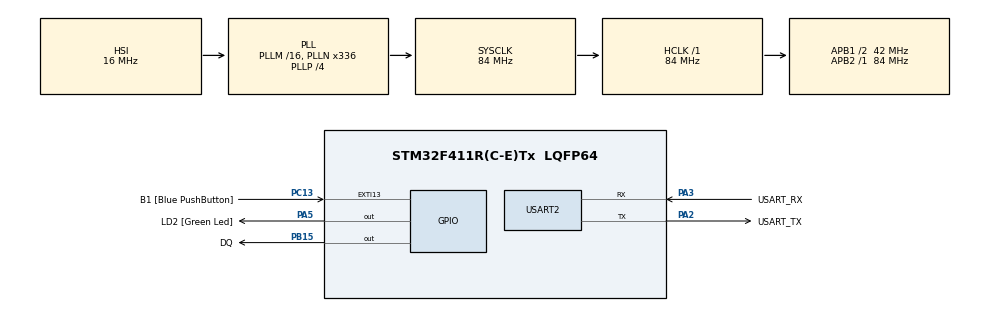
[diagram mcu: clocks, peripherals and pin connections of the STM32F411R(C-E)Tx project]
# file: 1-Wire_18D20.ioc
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Mcu.Family=STM32F4
Mcu.Name=STM32F411R(C-E)Tx
Mcu.Package=LQFP64
NVIC.PriorityGroup=NVIC_PRIORITYGROUP_0
NVIC.USART2_IRQn=true\:0\:0\:false\:false\:true\:true\:true
PA13.GPIO_Label=TMS
PA13.Mode=Serial_Wire
PA13.Signal=SYS_JTMS-SWDIO
PA14.GPIO_Label=TCK
PA14.Mode=Serial_Wire
PA14.Signal=SYS_JTCK-SWCLK
PA2.GPIO_Label=USART_TX
PA2.Mode=Asynchronous
PA2.Signal=USART2_TX
PA3.GPIO_Label=USART_RX
PA3.Mode=Asynchronous
PA3.Signal=USART2_RX
PA5.GPIO_Label=LD2 [Green Led]
PA5.Signal=GPIO_Output
PB15.GPIO_Label=DQ
PB15.GPIO_ModeDefaultOutputPP=GPIO_MODE_OUTPUT_OD
PB15.Signal=GPIO_Output
PB3.GPIO_Label=SWO
PB3.Signal=SYS_JTDO-SWO
PC13-ANTI_TAMP.GPIO_Label=B1 [Blue PushButton]
PC13-ANTI_TAMP.GPIO_ModeDefaultEXTI=GPIO_MODE_IT_FALLING
PC13-ANTI_TAMP.Signal=GPXTI13
PC14-OSC32_IN.Mode=LSE-External-Oscillator
PC14-OSC32_IN.Signal=RCC_OSC32_IN
PC15-OSC32_OUT.Mode=LSE-External-Oscillator
PC15-OSC32_OUT.Signal=RCC_OSC32_OUT
PH0\ -\ OSC_IN.Mode=HSE-External-Clock-Source
PH0\ -\ OSC_IN.Signal=RCC_OSC_IN
PH1\ -\ OSC_OUT.Mode=HSE-External-Clock-Source
PH1\ -\ OSC_OUT.Signal=RCC_OSC_OUT
ProjectManager.HeapSize=0x200
ProjectManager.StackSize=0x400
ProjectManager.TargetToolchain=STM32CubeIDE
RCC.48MHZClocksFreq_Value=84000000
RCC.AHBFreq_Value=84000000
RCC.APB1CLKDivider=RCC_HCLK_DIV2
RCC.APB1Freq_Value=42000000
RCC.APB1TimFreq_Value=84000000
RCC.APB2Freq_Value=84000000
RCC.APB2TimFreq_Value=84000000
RCC.CortexFreq_Value=84000000
RCC.FLatency-AdvancedSettings=FLASH_LATENCY_2
RCC.HCLKFreq_Value=84000000
RCC.HSE_VALUE=8000000
RCC.HSI_VALUE=16000000
RCC.PLLN=336
RCC.PLLP=RCC_PLLP_DIV4
RCC.SYSCLKFreq_VALUE=84000000
RCC.SYSCLKSource=RCC_SYSCLKSOURCE_PLLCLK
RCC.VCOOutputFreq_Value=336000000
TIM1.AutoReloadPreload=TIM_AUTORELOAD_PRELOAD_DISABLE
TIM1.Prescaler=83 - 1
USART2.VirtualMode=VM_ASYNC
VP_TIM1_VS_ClockSourceINT.Mode=Internal
board=NUCLEO-F411RE

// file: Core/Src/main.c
/* USER CODE BEGIN Header */
/**
  ******************************************************************************
  * @file           : main.c
  * @brief          : Main program body
  ******************************************************************************
  * @attention
  *
  * <h2><center>&copy; Copyright (c) 2021 STMicroelectronics.
  * All rights reserved.</center></h2>
  *
  * This software component is licensed by ST under BSD 3-Clause license,
  * the "License"; You may not use this file except in compliance with the
  * License. You may obtain a copy of the License at:
  *                        opensource.org/licenses/BSD-3-Clause
  *
  ******************************************************************************
  */
/* USER CODE END Header */
#include "main.h"

/* USER CODE BEGIN Includes */
#include "18B20_drivers.h"
#include <stdio.h>
/* USER CODE END Includes */

TIM_HandleTypeDef htim1;

UART_HandleTypeDef huart2;

void SystemClock_Config(void);
static void MX_GPIO_Init(void);
static void MX_USART2_UART_Init(void);
static void MX_TIM1_Init(void);

int main(void)
{
  /* USER CODE BEGIN 1 */
	uint8_t  uart_buf[50];
	uint16_t  uart_buf_len;
	float temp;
	uint64_t code;
  /* USER CODE END 1 */

  /* MCU Configuration--------------------------------------------------------*/

  /* Reset of all peripherals, Initializes the Flash interface and the Systick. */
  HAL_Init();

  /* Configure the system clock */
  SystemClock_Config();

  /* Initialize all configured peripherals */
  MX_GPIO_Init();
  MX_USART2_UART_Init();
  MX_TIM1_Init();
  /* USER CODE BEGIN 2 */
  HAL_TIM_Base_Start(&htim1);
  uart_buf_len = sprintf((char*) uart_buf,"Device number: ");
  HAL_UART_Transmit_IT(&huart2,  uart_buf, uart_buf_len);
  code = read_rom();
  uart_buf_len = sprintf((char*) uart_buf,"%X%X%X%X%X%X%X%X\r\n",
		  code >> 56,code >> 48, code >> 40,code >> 32,
		  code >> 24,code >> 16, code >> 8,code >> 0);
  HAL_UART_Transmit_IT(&huart2,  uart_buf, uart_buf_len);
  /* USER CODE END 2 */

  /* Infinite loop */
  while (1)
  {

    /* USER CODE BEGIN 3 */
	temp = read_temp();
	uart_buf_len = sprintf((char*) uart_buf,"Temperature: %0.2f \r\n", temp); // @suppress("Float formatting support")
	HAL_UART_Transmit_IT(&huart2,  uart_buf, uart_buf_len);

  }
  /* USER CODE END 3 */
}

void SystemClock_Config(void)
{
  RCC_OscInitTypeDef RCC_OscInitStruct = {0};
  RCC_ClkInitTypeDef RCC_ClkInitStruct = {0};

  /** Configure the main internal regulator output voltage
  */
  __HAL_RCC_PWR_CLK_ENABLE();
  __HAL_PWR_VOLTAGESCALING_CONFIG(PWR_REGULATOR_VOLTAGE_SCALE1);
  /** Initializes the RCC Oscillators according to the specified parameters
  * in the RCC_OscInitTypeDef structure.
  */
  RCC_OscInitStruct.OscillatorType = RCC_OSCILLATORTYPE_HSI;
  RCC_OscInitStruct.HSIState = RCC_HSI_ON;
  RCC_OscInitStruct.HSICalibrationValue = RCC_HSICALIBRATION_DEFAULT;
  RCC_OscInitStruct.PLL.PLLState = RCC_PLL_ON;
  RCC_OscInitStruct.PLL.PLLSource = RCC_PLLSOURCE_HSI;
  RCC_OscInitStruct.PLL.PLLM = 16;
  RCC_OscInitStruct.PLL.PLLN = 336;
  RCC_OscInitStruct.PLL.PLLP = RCC_PLLP_DIV4;
  RCC_OscInitStruct.PLL.PLLQ = 4;
  if (HAL_RCC_OscConfig(&RCC_OscInitStruct) != HAL_OK)
  {
    Error_Handler();
  }
  /** Initializes the CPU, AHB and APB buses clocks
  */
  RCC_ClkInitStruct.ClockType = RCC_CLOCKTYPE_HCLK|RCC_CLOCKTYPE_SYSCLK
                              |RCC_CLOCKTYPE_PCLK1|RCC_CLOCKTYPE_PCLK2;
  RCC_ClkInitStruct.SYSCLKSource = RCC_SYSCLKSOURCE_PLLCLK;
  RCC_ClkInitStruct.AHBCLKDivider = RCC_SYSCLK_DIV1;
  RCC_ClkInitStruct.APB1CLKDivider = RCC_HCLK_DIV2;
  RCC_ClkInitStruct.APB2CLKDivider = RCC_HCLK_DIV1;

  if (HAL_RCC_ClockConfig(&RCC_ClkInitStruct, FLASH_LATENCY_2) != HAL_OK)
  {
    Error_Handler();
  }
}

static void MX_TIM1_Init(void)
{

  TIM_ClockConfigTypeDef sClockSourceConfig = {0};
  TIM_MasterConfigTypeDef sMasterConfig = {0};

  htim1.Instance = TIM1;
  htim1.Init.Prescaler = 83 - 1;
  htim1.Init.CounterMode = TIM_COUNTERMODE_UP;
  htim1.Init.Period = 65535;
  htim1.Init.ClockDivision = TIM_CLOCKDIVISION_DIV1;
  htim1.Init.RepetitionCounter = 0;
  htim1.Init.AutoReloadPreload = TIM_AUTORELOAD_PRELOAD_DISABLE;
  if (HAL_TIM_Base_Init(&htim1) != HAL_OK)
  {
    Error_Handler();
  }
  sClockSourceConfig.ClockSource = TIM_CLOCKSOURCE_INTERNAL;
  if (HAL_TIM_ConfigClockSource(&htim1, &sClockSourceConfig) != HAL_OK)
  {
    Error_Handler();
  }
  sMasterConfig.MasterOutputTrigger = TIM_TRGO_RESET;
  sMasterConfig.MasterSlaveMode = TIM_MASTERSLAVEMODE_DISABLE;
  if (HAL_TIMEx_MasterConfigSynchronization(&htim1, &sMasterConfig) != HAL_OK)
  {
    Error_Handler();
  }

}

static void MX_USART2_UART_Init(void)
{

  huart2.Instance = USART2;
  huart2.Init.BaudRate = 115200;
  huart2.Init.WordLength = UART_WORDLENGTH_8B;
  huart2.Init.StopBits = UART_STOPBITS_1;
  huart2.Init.Parity = UART_PARITY_NONE;
  huart2.Init.Mode = UART_MODE_TX_RX;
  huart2.Init.HwFlowCtl = UART_HWCONTROL_NONE;
  huart2.Init.OverSampling = UART_OVERSAMPLING_16;
  if (HAL_UART_Init(&huart2) != HAL_OK)
  {
    Error_Handler();
  }

}

static void MX_GPIO_Init(void)
{
  GPIO_InitTypeDef GPIO_InitStruct = {0};

  /* GPIO Ports Clock Enable */
  __HAL_RCC_GPIOC_CLK_ENABLE();
  __HAL_RCC_GPIOH_CLK_ENABLE();
  __HAL_RCC_GPIOA_CLK_ENABLE();
  __HAL_RCC_GPIOB_CLK_ENABLE();

  /*Configure GPIO pin Output Level */
  HAL_GPIO_WritePin(LD2_GPIO_Port, LD2_Pin, GPIO_PIN_RESET);

  /*Configure GPIO pin Output Level */
  HAL_GPIO_WritePin(DQ_GPIO_Port, DQ_Pin, GPIO_PIN_RESET);

  /*Configure GPIO pin : B1_Pin */
  GPIO_InitStruct.Pin = B1_Pin;
  GPIO_InitStruct.Mode = GPIO_MODE_IT_FALLING;
  GPIO_InitStruct.Pull = GPIO_NOPULL;
  HAL_GPIO_Init(B1_GPIO_Port, &GPIO_InitStruct);

  /*Configure GPIO pin : LD2_Pin */
  GPIO_InitStruct.Pin = LD2_Pin;
  GPIO_InitStruct.Mode = GPIO_MODE_OUTPUT_PP;
  GPIO_InitStruct.Pull = GPIO_NOPULL;
  GPIO_InitStruct.Speed = GPIO_SPEED_FREQ_LOW;
  HAL_GPIO_Init(LD2_GPIO_Port, &GPIO_InitStruct);

  /*Configure GPIO pin : DQ_Pin */
  GPIO_InitStruct.Pin = DQ_Pin;
  GPIO_InitStruct.Mode = GPIO_MODE_OUTPUT_OD;
  GPIO_InitStruct.Pull = GPIO_NOPULL;
  GPIO_InitStruct.Speed = GPIO_SPEED_FREQ_LOW;
  HAL_GPIO_Init(DQ_GPIO_Port, &GPIO_InitStruct);

}

void Error_Handler(void)
{
  __disable_irq();
  while (1)
  {
  }
}

/************************ (C) COPYRIGHT STMicroelectronics *****END OF FILE****/
